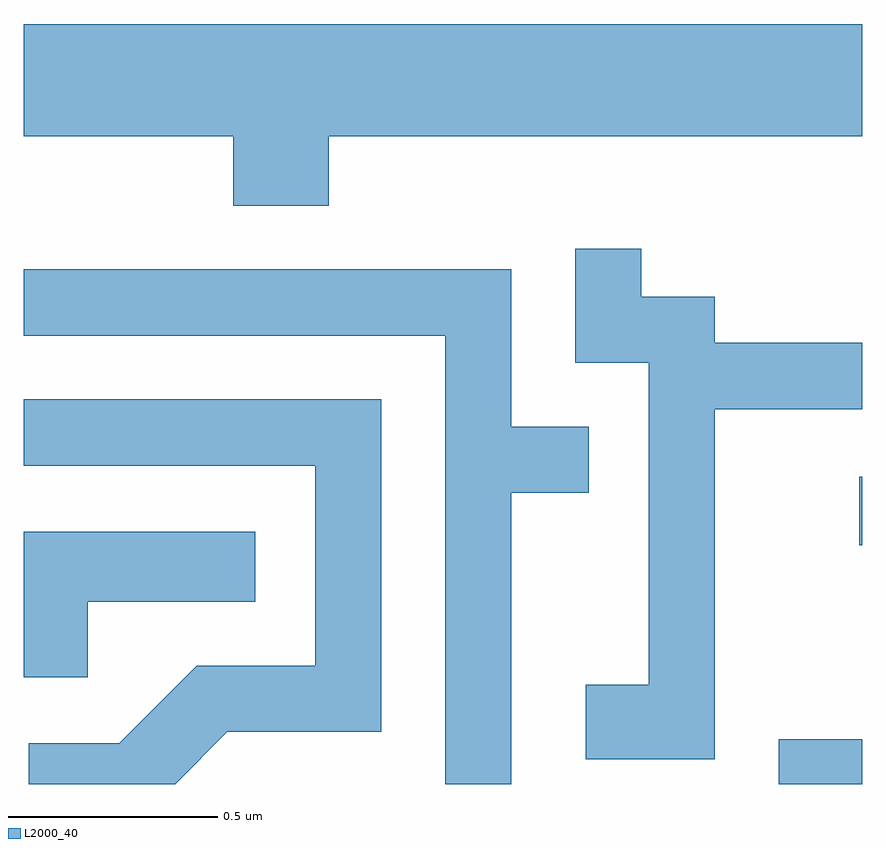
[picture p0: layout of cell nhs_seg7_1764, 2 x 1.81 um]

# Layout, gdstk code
import gdstk
lib = gdstk.Library(unit=1e-6, precision=1e-09)
def R(c, l, rs):  # rectangles x0, y0, x1, y1
    for r in rs: c.add(gdstk.rectangle(r[:2], r[2:], *l))
def P(c, l, *ps):  # polygons
    for p in ps: c.add(gdstk.Polygon(p, *l))
L2000_40 = (2000, 40)

nhs_seg7_1764 = lib.new_cell('nhs_seg7_1764')
R(nhs_seg7_1764, L2000_40, [(199.411,1788.252,199.611,1788.359), (199.603,1788.821,199.611,1788.984)])
P(nhs_seg7_1764, L2000_40, [(198.339,1789.796),(199.611,1789.796),(199.611,1790.064),(197.611,1790.064),(197.611,1789.796),(198.111,1789.796),(198.111,1789.631),(198.339,1789.631)],
  [(199.259,1789.146),(199.611,1789.146),(199.611,1789.304),(199.259,1789.304),(199.259,1789.414),(199.084,1789.414),(199.084,1789.528),(198.926,1789.528),(198.926,1789.256),(199.101,1789.256),(199.101,1788.489),(198.951,1788.489),(198.951,1788.311),(199.259,1788.311)],
  [(198.774,1788.946),(198.958,1788.946),(198.958,1789.104),(198.774,1789.104),(198.774,1789.479),(197.611,1789.479),(197.611,1789.321),(198.616,1789.321),(198.616,1788.252),(198.774,1788.252)],
  [(198.097,1788.376),(198.464,1788.376),(198.464,1789.169),(197.611,1789.169),(197.611,1789.011),(198.306,1789.011),(198.306,1788.534),(198.024,1788.534),(197.839,1788.349),(197.623,1788.349),(197.623,1788.252),(197.973,1788.252)],
  [(197.764,1788.686),(198.163,1788.686),(198.163,1788.854),(197.611,1788.854),(197.611,1788.506),(197.764,1788.506)])

lib.write_gds('nhs_seg7_1764.gds')
